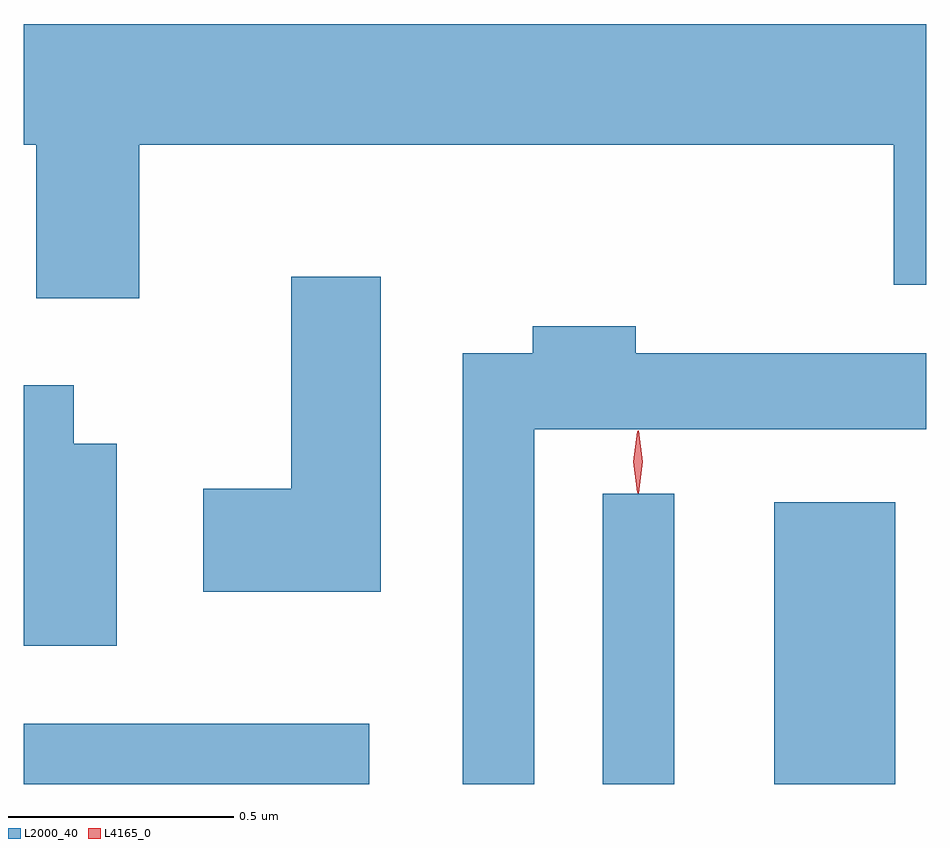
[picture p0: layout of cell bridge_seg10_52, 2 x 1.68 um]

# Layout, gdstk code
import gdstk
lib = gdstk.Library(unit=1e-6, precision=1e-09)
def R(c, l, rs):  # rectangles x0, y0, x1, y1
    for r in rs: c.add(gdstk.rectangle(r[:2], r[2:], *l))
def P(c, l, *ps):  # polygons
    for p in ps: c.add(gdstk.Polygon(p, *l))
L2000_40 = (2000, 40)
L4165_0 = (4165, 0)

bridge_seg10_52 = lib.new_cell('bridge_seg10_52')
R(bridge_seg10_52, L2000_40, [(1589.253,2163.56,1590.019,2163.694), (1590.536,2163.56,1590.694,2164.203), (1590.916,2163.56,1591.184,2164.184)])
P(bridge_seg10_52, L2000_40, [(1589.509,2164.976),(1591.181,2164.976),(1591.181,2164.666),(1591.253,2164.666),(1591.253,2165.244),(1589.253,2165.244),(1589.253,2164.976),(1589.281,2164.976),(1589.281,2164.636),(1589.509,2164.636)],
  [(1590.044,2164.684),(1589.846,2164.684),(1589.846,2164.214),(1589.651,2164.214),(1589.651,2163.986),(1590.044,2163.986)],
  [(1590.384,2164.346),(1591.253,2164.346),(1591.253,2164.514),(1590.609,2164.514),(1590.609,2164.574),(1590.381,2164.574),(1590.381,2164.514),(1590.226,2164.514),(1590.226,2163.56),(1590.384,2163.56)],
  [(1589.459,2164.314),(1589.364,2164.314),(1589.364,2164.444),(1589.253,2164.444),(1589.253,2163.866),(1589.459,2163.866)])
P(bridge_seg10_52, L4165_0, [(1590.614,2164.204),(1590.605,2164.274),(1590.614,2164.343),(1590.615,2164.343),(1590.616,2164.343),(1590.625,2164.274),(1590.616,2164.204),(1590.615,2164.204)],
  [(1590.613,2164.207),(1590.604,2164.274),(1590.613,2164.34),(1590.614,2164.341),(1590.614,2164.34),(1590.624,2164.274),(1590.614,2164.207),(1590.614,2164.207)])

lib.write_gds('bridge_seg10_52.gds')
